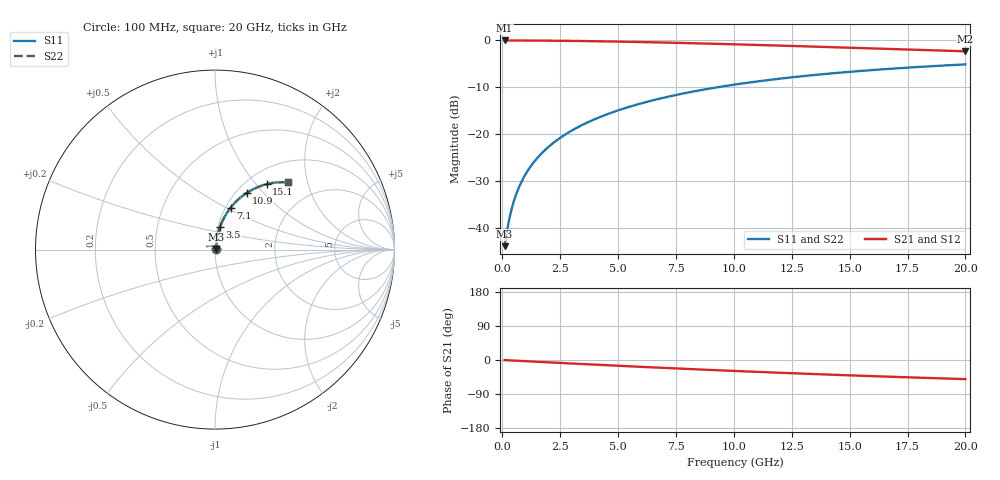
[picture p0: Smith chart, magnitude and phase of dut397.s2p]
! Touchstone file exported from HFSS 2024.1.0
!  File:  C:/UserFiles/LocalFiles/RDL_TSV_Batchsim/temp_RDL_bottom_397_1779614647.aedt
!  Generated:  05:27:14 PM May 24, 2026
!  Design:  RDL_bottom
!  Project:  temp_RDL_bottom_397_1779614647
!  Setup:  Setup1
!  Solution:  Sweep
! Variables:
!  dtsv = 10.80580581um
!  hbump = 3um
!  htsv = 62.61um
!  ldown = 669.67um
!  lrdl = 100um
!  p = 40
!  p1 = 51.76um
!  rhole = 1um
!  t = 450um
!  tdown = 4.23um
!  trdl = 3.915915916um
!  wdown = 10.68um
!  wrdl = 20um
# GHz S MA R 50.000000
! Terminal data exported
! Port[1] = RDL1_T1
! Port[2] = RDL1_T2
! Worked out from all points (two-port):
!   200 points, 100 MHz to 20 GHz, reference 50 ohm
!   highest |S21| = -0.05 dB at 100 MHz (marker M1); lowest = -2.4 dB at 20 GHz (marker M2)
!   |S21| within 3 dB of the highest: start of sweep to end of sweep
!   lowest |S11| = -43.8 dB at 100 MHz (marker M3), VSWR 1.01, Z = 50.5 + j0.381 ohm
!   |S11| at or under -10 dB: start of sweep to 9.288 GHz
!   |S22| runs from -43.8 to -5.1 dB; largest |S21 - S12| = 8.2e-15
!   S11 on the Smith chart (normalised r, x): 100 MHz: 1.01, +0.01; 3.5 GHz: 1.02, +0.26; 7.1 GHz: 1.06, +0.53; 10.9 GHz: 1.12, +0.81; 15.1 GHz: 1.22, +1.14; 20 GHz: 1.41, +1.53
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0.1  0.006467 35.6  0.9947 -0.3  0.9947 -0.3  0.006467 35.6
! Gamma 0 0 0 0
! Port Impedance 50 0 50 0
0.2  0.009233 54.5  0.9947 -0.6  0.9947 -0.6  0.009233 54.5
0.3  0.01252 63.8  0.9945 -1.0  0.9945 -1.0  0.01252 63.8
0.4  0.01598 69.0  0.9944 -1.3  0.9944 -1.3  0.01598 69.0
0.5  0.01952 72.2  0.9942 -1.6  0.9942 -1.6  0.01952 72.2
0.6  0.02309 74.4  0.994 -1.9  0.994 -1.9  0.02309 74.4
0.8  0.03027 77.0  0.9936 -2.5  0.9936 -2.5  0.03027 77.0
1.1  0.0411 78.9  0.9928 -3.4  0.9928 -3.4  0.0411 78.9
1.5  0.05558 79.8  0.9916 -4.7  0.9916 -4.7  0.05558 79.8
2.1  0.07729 79.8  0.9891 -6.5  0.9891 -6.5  0.07729 79.8
2.7  0.09888 79.1  0.9858 -8.4  0.9858 -8.4  0.09888 79.1
3.5  0.1274 77.7  0.9804 -10.8  0.9804 -10.8  0.1274 77.7
5  0.1796 74.4  0.9673 -15.2  0.9673 -15.2  0.1796 74.4
6.8  0.2395 70.2  0.9476 -20.4  0.9476 -20.4  0.2395 70.2
7.1  0.2491 69.5  0.944 -21.2  0.944 -21.2  0.2491 69.5
8.5  0.2927 66.2  0.9261 -25.0  0.9261 -25.0  0.2927 66.3
10.1  0.3396 62.6  0.9042 -29.1  0.9042 -29.1  0.3396 62.6
10.9  0.3617 60.7  0.8928 -31.1  0.8928 -31.1  0.3617 60.7
13.4  0.4253 55.3  0.8564 -37.0  0.8564 -37.0  0.4253 55.3
15.1  0.4637 51.8  0.8314 -40.7  0.8314 -40.7  0.4637 51.8
16.7  0.4963 48.6  0.8083 -44.1  0.8083 -44.1  0.4963 48.6
20  0.5537 42.6  0.7627 -50.5  0.7627 -50.5  0.5537 42.6
